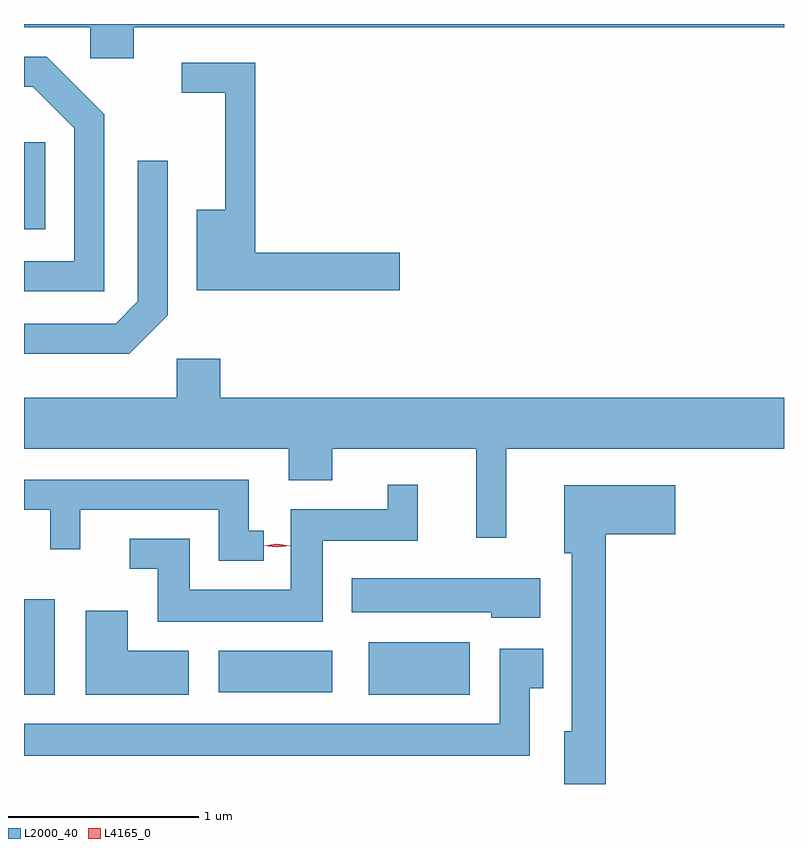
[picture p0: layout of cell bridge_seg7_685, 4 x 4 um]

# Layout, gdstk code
import gdstk
lib = gdstk.Library(unit=1e-6, precision=1e-09)
def R(c, l, rs):  # rectangles x0, y0, x1, y1
    for r in rs: c.add(gdstk.rectangle(r[:2], r[2:], *l))
def P(c, l, *ps):  # polygons
    for p in ps: c.add(gdstk.Polygon(p, *l))
L2000_40 = (2000, 40)
L4165_0 = (4165, 0)

bridge_seg7_685 = lib.new_cell('bridge_seg7_685')
R(bridge_seg7_685, L2000_40, [(925.797,1690.821,925.959,1691.324), (927.611,1690.821,928.144,1691.099), (926.821,1690.836,927.419,1691.054), (925.797,1693.271,925.909,1693.729)])
P(bridge_seg7_685, L2000_40, [(926.374,1694.336),(929.797,1694.336),(929.797,1694.352),(925.797,1694.352),(925.797,1694.336),(926.146,1694.336),(926.146,1694.171),(926.374,1694.171)],
  [(926.219,1693.877),(925.917,1694.179),(925.797,1694.179),(925.797,1694.021),(925.844,1694.021),(926.061,1693.804),(926.061,1693.104),(925.797,1693.104),(925.797,1692.946),(926.219,1692.946)],
  [(927.774,1693.149),(927.014,1693.149),(927.014,1694.149),(926.628,1694.149),(926.628,1693.991),(926.856,1693.991),(926.856,1693.374),(926.706,1693.374),(926.706,1692.951),(927.774,1692.951)],
  [(926.554,1692.819),(926.554,1693.633),(926.396,1693.633),(926.396,1692.892),(926.279,1692.774),(925.797,1692.774),(925.797,1692.616),(926.352,1692.616)],
  [(928.334,1692.116),(929.797,1692.116),(929.797,1692.384),(926.829,1692.384),(926.829,1692.589),(926.601,1692.589),(926.601,1692.384),(925.797,1692.384),(925.797,1692.116),(927.191,1692.116),(927.191,1691.951),(927.419,1691.951),(927.419,1692.116),(928.176,1692.116),(928.176,1691.648),(928.334,1691.648)],
  [(927.058,1691.684),(926.979,1691.684),(926.979,1691.954),(925.797,1691.954),(925.797,1691.796),(925.936,1691.796),(925.936,1691.588),(926.094,1691.588),(926.094,1691.796),(926.821,1691.796),(926.821,1691.526),(927.058,1691.526)],
  [(927.369,1691.631),(927.869,1691.631),(927.869,1691.928),(927.711,1691.928),(927.711,1691.799),(927.201,1691.799),(927.201,1691.374),(926.669,1691.374),(926.669,1691.644),(926.353,1691.644),(926.353,1691.486),(926.501,1691.486),(926.501,1691.206),(927.369,1691.206)],
  [(928.859,1691.666),(929.224,1691.666),(929.224,1691.924),(928.641,1691.924),(928.641,1691.566),(928.681,1691.566),(928.681,1690.629),(928.641,1690.629),(928.641,1690.352),(928.859,1690.352)],
  [(928.514,1691.434),(927.521,1691.434),(927.521,1691.256),(928.256,1691.256),(928.256,1691.226),(928.514,1691.226)],
  [(926.664,1691.054),(926.344,1691.054),(926.344,1691.264),(926.121,1691.264),(926.121,1690.821),(926.664,1690.821)],
  [(928.459,1690.856),(928.529,1690.856),(928.529,1691.064),(928.301,1691.064),(928.301,1690.669),(925.797,1690.669),(925.797,1690.501),(928.459,1690.501)])
P(bridge_seg7_685, L4165_0, [(927.128,1691.597),(927.059,1691.606),(927.059,1691.607),(927.059,1691.607),(927.128,1691.617),(927.198,1691.607),(927.198,1691.607),(927.198,1691.606)])

lib.write_gds('bridge_seg7_685.gds')
